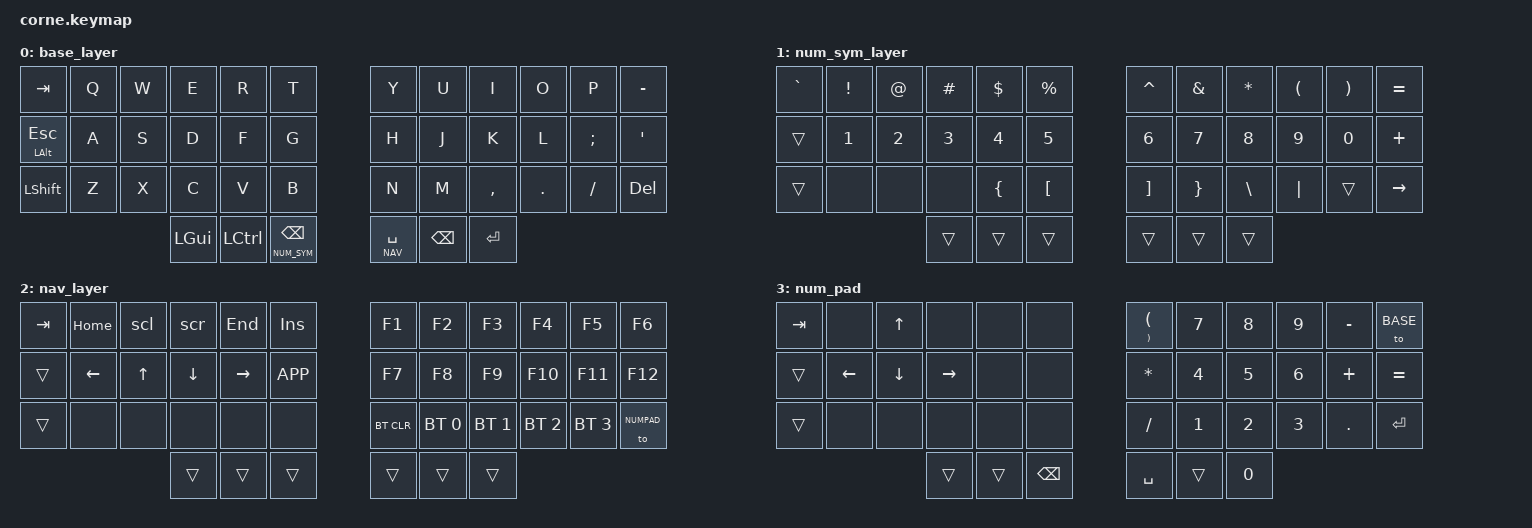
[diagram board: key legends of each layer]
/*
 * Copyright (c) 2020 The ZMK Contributors
 *
 * SPDX-License-Identifier: MIT
 */

#include <behaviors.dtsi>
#include <dt-bindings/zmk/keys.h>
#include <dt-bindings/zmk/bt.h>

#define BASE    0
#define NUM_SYM 1
#define NAV     2
#define NUMPAD  3

/ {
    behaviors {
        bd: bksp_del {
            compatible = "zmk,behavior-mod-morph";
            label = "BKSP_DEL";
            #binding-cells = <0>;
            bindings = <&kp BKSP>, <&kp DEL>;
            mods = <(MOD_LSFT|MOD_RSFT)>;
        };
        gqt: global-quick-tap {
            compatible = "zmk,behavior-hold-tap";
            label = "GLOBAL_QUICK_TAP";
            #binding-cells = <2>;
            flavor = "tap-preferred";
            tapping-term-ms = <200>;
            quick-tap-ms = <125>;
            global-quick-tap;
            bindings = <&kp>, <&kp>;
        };
    };
    macros {
        shft_ins: shft_ins{
            compatible = "zmk,behavior-macro";
            label = "SHFT_INS";
            #binding-cells = <0>;
            bindings = <&macro_tap &kp LSHFT &kp INS>;
        };
        scl: shft_ctrl_left{
            compatible = "zmk,behavior-macro";
            label = "SCL";
            #binding-cells = <0>;
            bindings
                = <&macro_press &kp LSHFT &kp LCTRL>
                , <&macro_tap &kp LEFT>
                , <&macro_release &kp LSHFT &kp LCTRL>
                ;
        };
        cl: ctrl_left{
            compatible = "zmk,behavior-macro";
            label = "CL";
            #binding-cells = <0>;
            bindings
                = <&macro_press &kp LCTRL>
                , <&macro_tap &kp LEFT>
                , <&macro_release &kp LCTRL>
                ;
        };
        scr: shft_ctrl_right{
            compatible = "zmk,behavior-macro";
            label = "SCR";
            #binding-cells = <0>;
            bindings
                = <&macro_press &kp LSHFT &kp LCTRL>
                , <&macro_tap &kp RIGHT>
                , <&macro_release &kp LSHFT &kp LCTRL>
                ;
        };
        cr: ctrl_right{
            compatible = "zmk,behavior-macro";
            label = "CR";
            #binding-cells = <0>;
            bindings
                = <&macro_press &kp LCTRL>
                , <&macro_tap &kp RIGHT>
                , <&macro_release &kp LCTRL>
                ;
        };
    };
};

/ {        
    keymap {
        compatible = "zmk,keymap";
        base_layer {
// ----------------------------------------------------------------------------------------
// | TAB         |  Q  |  W  |  E  |  R  |  T  |   |  Y  |  U   |  I  |  O  |  P  |  -  |
// | GQT ESC/ALT |  A  |  S  |  D  |  F  |  G  |   |  H  |  J   |  K  |  L  |  ;  |  '  |
// | SHFT        |  Z  |  X  |  C  |  V  |  B  |   |  N  |  M   |  ,  |  .  |  /  | DEL |
//                  | GUI | CTRL | LT BKSP/NUM |   |LT SPC/NAV | BKSP | RETURN |
            bindings = <
   &kp TAB        &kp Q &kp W &kp E &kp R &kp T       &kp Y &kp U &kp I     &kp O   &kp P    &kp MINUS
   &gqt LALT ESC  &kp A &kp S &kp D &kp F &kp G       &kp H &kp J &kp K     &kp L   &kp SEMI &kp SQT
   &kp LSHFT      &kp Z &kp X &kp C &kp V &kp B       &kp N &kp M &kp COMMA &kp DOT &kp FSLH &kp DEL
            &kp LGUI &kp LCTRL &lt NUM_SYM BKSP       &lt NAV SPACE &kp BKSP &kp RET
            >;
        };

        num_sym_layer {
// ------------------------------------------------------------------------------------------
// | ` |  !  |  @  |  #  |  $  |  %  |   |  ^  |  &  |  *  |  (  |  )  |  =  |
// |   |  1  |  2  |  3  |  4  |  5  |   |  6  |  7  |  8  |  9  |  0  |  +  |
// |   |     |     |     |  {  |  [  |   |  ]  |  }  |  \  |  |  |     |     |
//                 |     |     |     |   |     |     |     |
            bindings = <
   &kp GRAVE &kp EXCL &kp AT &kp HASH &kp DLLR &kp PRCNT      &kp CARET &kp AMPS &kp ASTRK &kp LPAR &kp RPAR &kp EQUAL
   &trans    &kp N1   &kp N2 &kp N3   &kp N4   &kp N5         &kp N6 &kp N7 &kp N8 &kp N9 &kp N0 &kp PLUS
   &trans    &none    &none  &none    &kp LBRC &kp LBKT       &kp RBKT  &kp RBRC &kp BSLH &kp PIPE &trans &kp RIGHT
                                   &trans &trans &trans       &trans &trans &trans
            >;
        };

        nav_layer {
// -----------------------------------------------------------------------------------------
// | TAB | HOME |  SCL |  SCR | END  | INS |   | F1   | F2 | F3 | F4 | F5 |   F6   |
// |     | LFFT |  UP  | DOWN | RIGHT| APP |   | F7   | F8 | F9 | F10| F11|   F12  |
// |     |      |      |      |      |     |   |BT_CLR| BT0| BT1| BT2| BT3| NUM_PAD|
//                     |      |      |     |   |      |    |    |
            bindings = <
   &kp TAB &kp HOME &scl   &scr     &kp END   &kp INS     &kp F1 &kp F2  &kp F3 &kp F4 &kp F5  &kp F6
   &trans  &kp LEFT &kp UP  &kp DOWN  &kp RIGHT &kp K_APP   &kp F7 &kp F8 &kp F9 &kp F10 &kp F11 &kp F12
   &trans  &none    &none   &none     &none    &none       &bt BT_CLR &bt BT_SEL 0 &bt BT_SEL 1 &bt BT_SEL 2 &bt BT_SEL 3 &to NUMPAD
                              &trans    &trans    &trans      &trans     &trans     &trans
            >;
        };

        num_pad {
// -----------------------------------------------------------------------------------------
// | TAB |      | UP   |      |     |     |  | GQT (/) | N7 | N8 | N9 |  -  | BASE|
// |     | LEFT | DOWN | RIGHT|     |     |  |  *      | N4 | N5 | N6 |  +  |  =  |
// |     |      |      |      |     |     |  |  /      | N1 | N2 | N3 |  .  | RET |
//                     |      |     | BKSP|  | SPC  |    | N0 |
            bindings = <
   &kp TAB &none    &kp UP   &none     &none &none      &gqt RPAR LPAR    &kp N7 &kp N8 &kp N9 &kp MINUS &to BASE
   &trans  &kp LEFT &kp DOWN &kp RIGHT &none &none      &kp ASTRK         &kp N4 &kp N5 &kp N6 &kp PLUS  &kp EQUAL
   &trans  &none    &none    &none     &none &none      &kp FSLH          &kp N1 &kp N2 &kp N3 &kp DOT   &kp RET
                            &trans &trans &kp BKSP      &kp SPACE   &trans    &kp N0
            >;
        };
    };
};
